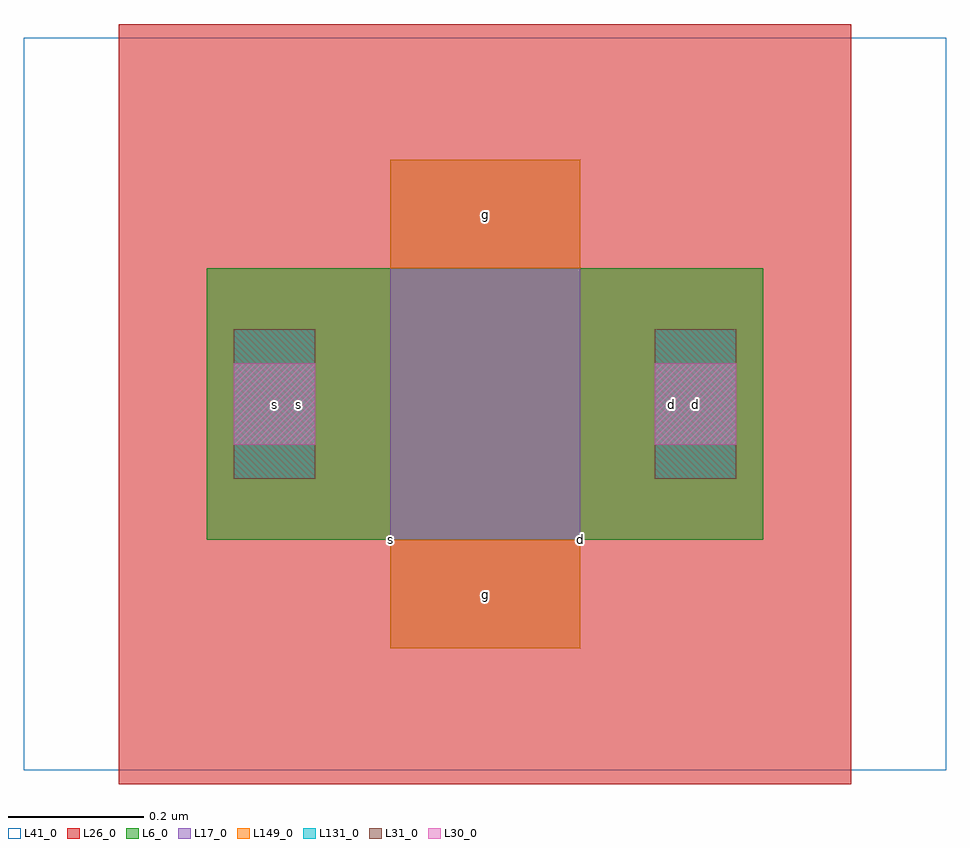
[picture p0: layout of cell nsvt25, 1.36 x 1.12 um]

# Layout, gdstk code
import gdstk
lib = gdstk.Library(unit=1e-6, precision=1e-09)
def R(c, l, rs):  # rectangles x0, y0, x1, y1
    for r in rs: c.add(gdstk.rectangle(r[:2], r[2:], *l))
L6_0 = (6, 0)
L17_0 = (17, 0)
L26_0 = (26, 0)
L30_0 = (30, 0)
L31_0 = (31, 0)
L41_0 = (41, 0)
L131_0 = (131, 0)
L149_0 = (149, 0)

pc_ct = lib.new_cell('pc_ct')
R(pc_ct, L30_0, [(0,0,0.12,0.12)])

nsvt25 = lib.new_cell('nsvt25')
R(nsvt25, L6_0, [(-0.27,0,0.55,0.4), (-0.27,0,0,0.4), (0.28,0,0.55,0.4)])
R(nsvt25, L17_0, [(0,-0.16,0.28,0.56)])
R(nsvt25, L26_0, [(-0.4,-0.36,0.68,0.76)])
R(nsvt25, L31_0, [(-0.23,0.09,-0.11,0.31), (0.39,0.09,0.51,0.31)])
R(nsvt25, L41_0, [(-0.54,-0.34,0.82,0.74)])
R(nsvt25, L131_0, [(-0.23,0.09,-0.11,0.31), (0.39,0.09,0.51,0.31)])
R(nsvt25, L149_0, [(0,-0.16,0.28,0), (0,0.4,0.28,0.56)])
r = gdstk.Reference(pc_ct, (-0.23,0.14)); r.repetition = gdstk.Repetition(1, 1, v1=(0.26,0), v2=(0,0.26)); nsvt25.add(r)
r = gdstk.Reference(pc_ct, (0.39,0.14)); r.repetition = gdstk.Repetition(1, 1, v1=(0.26,0), v2=(0,0.26)); nsvt25.add(r)
nsvt25.add(gdstk.Label('g', (0.14,-0.08), layer=149, texttype=0))
nsvt25.add(gdstk.Label('g', (0.14,0.48), layer=149, texttype=0))
nsvt25.add(gdstk.Label('s', (-0.17,0.2), layer=131, texttype=0))
nsvt25.add(gdstk.Label('d', (0.45,0.2), layer=131, texttype=0))
nsvt25.add(gdstk.Label('s', (-0.135,0.2), layer=127, texttype=0))
nsvt25.add(gdstk.Label('d', (0.415,0.2), layer=127, texttype=0))
nsvt25.add(gdstk.Label('s', (0,0), layer=6, texttype=0))
nsvt25.add(gdstk.Label('d', (0.28,0), layer=6, texttype=0))

lib.write_gds('nsvt25.gds')
